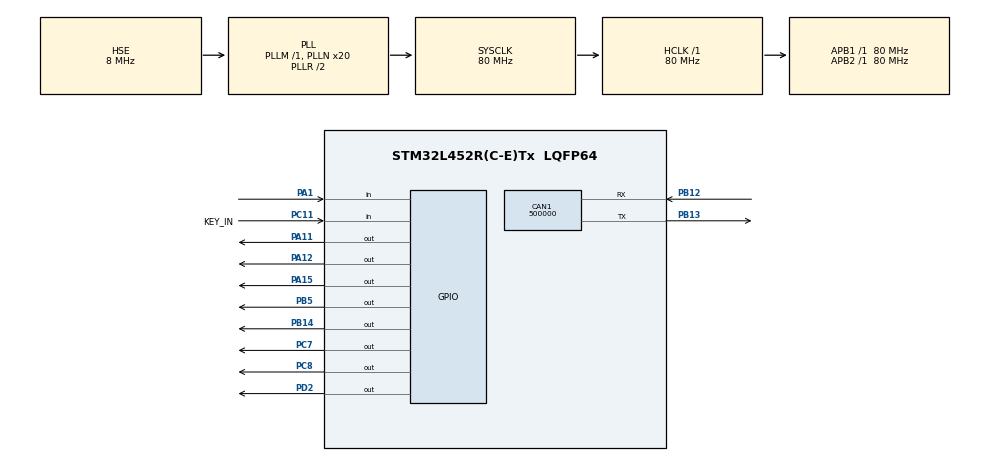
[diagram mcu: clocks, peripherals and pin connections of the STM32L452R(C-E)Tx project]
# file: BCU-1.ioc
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Mcu.Family=STM32L4
RCC.MSI_VALUE=4000000
RCC.PLLSourceVirtual=RCC_PLLSOURCE_HSE
NVIC.CAN1_RX1_IRQn=true\:0\:0\:false\:false\:true\:true\:true
RCC.CortexFreq_Value=80000000
PA13\ (JTMS/SWDIO).Mode=Serial_Wire
PH0-OSC_IN\ (PH0).Signal=RCC_OSC_IN
PC11.Signal=GPIO_Input
CAN1.CalculateBaudRate=500000
PC8.Signal=GPIO_Output
PA15\ (JTDI).Signal=GPIO_Output
PB13.Signal=CAN1_TX
PH1-OSC_OUT\ (PH1).Signal=RCC_OSC_OUT
RCC.SYSCLKSource=RCC_SYSCLKSOURCE_PLLCLK
ProjectManager.StackSize=0x400
PC11.GPIO_PuPd=GPIO_PULLUP
PA14\ (JTCK/SWCLK).Signal=SYS_JTCK-SWCLK
PA12.Signal=GPIO_Output
CAN1.BS2=CAN_BS2_6TQ
CAN1.BS1=CAN_BS1_3TQ
ProjectManager.TargetToolchain=STM32CubeIDE
NVIC.CAN1_TX_IRQn=true\:0\:0\:false\:false\:true\:true\:true
RCC.HCLKFreq_Value=80000000
RCC.APB2TimFreq_Value=80000000
PC7.Signal=GPIO_Output
RCC.USBFreq_Value=32000000
NVIC.CAN1_SCE_IRQn=true\:0\:0\:false\:false\:true\:true\:true
RCC.LSE_VALUE=32768
PA1.Signal=GPIO_Input
RCC.AHBFreq_Value=80000000
PB14.Signal=GPIO_Output
PH1-OSC_OUT\ (PH1).Mode=HSE-External-Oscillator
RCC.HSE_VALUE=8000000
board=custom
RCC.VCOOutputFreq_Value=160000000
RCC.APB2Freq_Value=80000000
VP_TIM2_VS_ClockSourceINT.Mode=Internal
PC11.GPIO_Label=KEY_IN
NVIC.TIM2_IRQn=true\:0\:0\:false\:false\:true\:true\:true
RCC.ADCFreq_Value=32000000
PA14\ (JTCK/SWCLK).Mode=Serial_Wire
TIM2.Period=40000-1
Mcu.Name=STM32L452R(C-E)Tx
RCC.SYSCLKFreq_VALUE=80000000
Mcu.Package=LQFP64
PB5.Signal=GPIO_Output
TIM2.Prescaler=10000-1
PB12.Mode=CAN_Activate
PA11.Signal=GPIO_Output
ProjectManager.HeapSize=0x200
RCC.HSI_VALUE=16000000
NVIC.PriorityGroup=NVIC_PRIORITYGROUP_4
RCC.PLLN=20
RCC.APB1TimFreq_Value=80000000
TIM2.AutoReloadPreload=TIM_AUTORELOAD_PRELOAD_ENABLE
PB13.Mode=CAN_Activate
PD2.Signal=GPIO_Output
RCC.APB1Freq_Value=80000000
CAN1.CalculateTimeBit=2000.00
PH0-OSC_IN\ (PH0).Mode=HSE-External-Oscillator
PB12.Signal=CAN1_RX
NVIC.CAN1_RX0_IRQn=true\:0\:0\:false\:false\:true\:true\:true
RCC.HSI48_VALUE=48000000
PA13\ (JTMS/SWDIO).Signal=SYS_JTMS-SWDIO
CAN1.CalculateTimeQuantum=200.0

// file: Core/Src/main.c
/* USER CODE BEGIN Header */
/**
 ******************************************************************************
 * @file           : main.c
 * @brief          : Main program body
 ******************************************************************************
 * @attention
 *
 * <h2><center>&copy; Copyright (c) 2021 STMicroelectronics.
 * All rights reserved.</center></h2>
 *
 * This software component is licensed by ST under BSD 3-Clause license,
 * the "License"; You may not use this file except in compliance with the
 * License. You may obtain a copy of the License at:
 *                        opensource.org/licenses/BSD-3-Clause
 *
 ******************************************************************************
 */
/* USER CODE END Header */
#include "main.h"

/* USER CODE BEGIN Includes */
#include "J1939.H"
#include "stdlib.h"
#include "J1939_Config.H"
#include <stdint.h>
#include <stdlib.h>
#include <switch.H>
/* USER CODE END Includes */

CAN_HandleTypeDef hcan1;

TIM_HandleTypeDef htim2;

/* USER CODE BEGIN PV */
uint8_t response_data[8];
char uart_buf[50];
int uart_buf_len;
uint16_t timer_val;
uint16_t ran;
j1939_uint8_t  *info;
j1939_uint8_t _info;
struct Key_Info Key_Infovar;
struct Motorcontroller_Status Motorcontroller_Statusvar;
struct Switch_Info Switch_Infovar;
struct Motorcontroller_command Motorcontroller_commandvar;
struct BMS_Status BMS_Statusvar;
struct VCU_Status VCU_Statusvar;

uint8_t flag1=1;
uint8_t flag2=1;
uint8_t cnt1=0;
uint8_t  count=0;
uint8_t count1=0;
J1939_MESSAGE Message;
uint8_t vehicle_state=0;
/* USER CODE END PV */

void SystemClock_Config(void);
static void MX_GPIO_Init(void);
static void MX_TIM2_Init(void);
static void MX_CAN1_Init(void);

/* USER CODE BEGIN 0 */
void sendMsg_KEYINFO(J1939_MESSAGE *Message)
{

	J1939_MESSAGE _msgKEYINFO;
	_msgKEYINFO=*Message;

	//uint8_t buf[]="2";
	_msgKEYINFO.Mxe.DataPage = 0;
	_msgKEYINFO.Mxe.Priority = 0x01;
	_msgKEYINFO.Mxe.DestinationAddress = 0x33;//changed from 33 to 31//destination is all
	_msgKEYINFO.Mxe.DataLength = 8;
	_msgKEYINFO.Mxe.PDUFormat = 0xf1;
	_msgKEYINFO.Mxe.SourceAddress = 0x33;

	//	_msgKEYINFO.Mxe.Data[0] = 0;
	//	_msgKEYINFO.Mxe.Data[1] = 0;
	//	_msgKEYINFO.Mxe.Data[2] = 0;
	//	_msgKEYINFO.Mxe.Data[3] = 0;
	//	_msgKEYINFO.Mxe.Data[4] = 0;
	//	_msgKEYINFO.Mxe.Data[5] = 0;
	//	_msgKEYINFO.Mxe.Data[6] = 0;
	//	_msgKEYINFO.Mxe.Data[7] = 'k';

	//J1939_TP_TX_Message(0xf133, 0xff, buf,1);
	while (J1939_Send_Message(&_msgKEYINFO)!= RC_SUCCESS);

	//HAL_UART_Transmit(&huart3,"send msg from keyinfo\r\n", 30, 1000);
}
void sendMsg_BMSSTATUS(J1939_MESSAGE *Message)
{
	J1939_MESSAGE _msgBMSSTATUS;

	_msgBMSSTATUS=*Message;
	_msgBMSSTATUS.Mxe.DataPage = 0;
	_msgBMSSTATUS.Mxe.Priority = 0x03;
	_msgBMSSTATUS.Mxe.DestinationAddress = 0x22;
	_msgBMSSTATUS.Mxe.DataLength = 8;
	_msgBMSSTATUS.Mxe.PDUFormat = 0xF4;
	_msgBMSSTATUS.Mxe.SourceAddress = 0x44;

	//	_msgBMSSTATUS.Mxe.Data[0] = 0;
	//	_msgBMSSTATUS.Mxe.Data[1] = 0;
	//	_msgBMSSTATUS.Mxe.Data[2] = 0;
	//	_msgBMSSTATUS.Mxe.Data[3] = 0;
	//	_msgBMSSTATUS.Mxe.Data[4] = 0;
	//	_msgBMSSTATUS.Mxe.Data[5] = 0;
	//	_msgBMSSTATUS.Mxe.Data[6] = 0;
	//	_msgBMSSTATUS.Mxe.Data[7] = 0;

	//J1939_TP_TX_Message(0xf133, 0xff, buf,1);
	while (J1939_Send_Message( &_msgBMSSTATUS) != RC_SUCCESS);
}

void sendMsg_MOTORCONTROLLERSTATUS(J1939_MESSAGE *Message)
{
	J1939_MESSAGE _msgMOTORCONTROLLERSTATUS;
	_msgMOTORCONTROLLERSTATUS =*Message;

	_msgMOTORCONTROLLERSTATUS.Mxe.DataPage = 0;
	_msgMOTORCONTROLLERSTATUS.Mxe.Priority = 0x03;
	_msgMOTORCONTROLLERSTATUS.Mxe.DestinationAddress = 0x33;
	_msgMOTORCONTROLLERSTATUS.Mxe.DataLength = 1;
	_msgMOTORCONTROLLERSTATUS.Mxe.PDUFormat = 0xF2;
	_msgMOTORCONTROLLERSTATUS.Mxe.SourceAddress = 0x11;

	//	_msgMOTORCONTROLLERSTATUS.Mxe.Data[0] = Motorcontroller_Statusvar.motorcontroller_state;
	//	_msgMOTORCONTROLLERSTATUS.Mxe.Data[1] = 0;
	//	_msgMOTORCONTROLLERSTATUS.Mxe.Data[2] = 0;
	//	_msgMOTORCONTROLLERSTATUS.Mxe.Data[3] = 0;
	//	_msgMOTORCONTROLLERSTATUS.Mxe.Data[4] = 0;
	//	_msgMOTORCONTROLLERSTATUS.Mxe.Data[5] = 0;
	//	_msgMOTORCONTROLLERSTATUS.Mxe.Data[6] = 0;
	//	_msgMOTORCONTROLLERSTATUS.Mxe.Data[7] = 0;

	//J1939_TP_TX_Message(0xf133, 0xff, buf,1);
	while (J1939_Send_Message( &_msgMOTORCONTROLLERSTATUS) != RC_SUCCESS);

}

void sendMsg_VCUSTATUS(J1939_MESSAGE *Message)
{
	J1939_MESSAGE _msgVCUSTATUS;
	_msgVCUSTATUS =*Message;
	_msgVCUSTATUS.Mxe.DataPage = 0;
	_msgVCUSTATUS.Mxe.Priority = 0x03;
	_msgVCUSTATUS.Mxe.DestinationAddress = 0x22;
	_msgVCUSTATUS.Mxe.DataLength = 8;
	_msgVCUSTATUS.Mxe.PDUFormat = 0x01;
	_msgVCUSTATUS.Mxe.SourceAddress = 0x22;

	//	_msgVCUSTATUS.Mxe.Data[0] = 0;
	//	_msgVCUSTATUS.Mxe.Data[1] = 0;
	//	_msgVCUSTATUS.Mxe.Data[2] = 0;
	//	_msgVCUSTATUS.Mxe.Data[3] = 0;
	//	_msgVCUSTATUS.Mxe.Data[4] = 0;
	//	_msgVCUSTATUS.Mxe.Data[5] = 0;
	//	_msgVCUSTATUS.Mxe.Data[6] = 0;
	//	_msgVCUSTATUS.Mxe.Data[7] = 0;

	//J1939_TP_TX_Message(0xf133, 0xff, buf,1);
	while (J1939_Send_Message(&_msgVCUSTATUS) != RC_SUCCESS);

}

/* USER CODE END 0 */

int main(void)
{

  /* MCU Configuration--------------------------------------------------------*/

  /* Reset of all peripherals, Initializes the Flash interface and the Systick. */
  HAL_Init();

  /* USER CODE BEGIN Init */
	Key_Infovar.Key_In=0;
	Key_Infovar.Key_Off=0;
	//	Microcontroller_Statusvar.motorcontroller_state=0;
	Motorcontroller_commandvar.brake=0;
	Motorcontroller_commandvar.ignition_command=0;

	Switch_Infovar.killswitch=0;
	Switch_Infovar.brake=0;
	Switch_Infovar.indicator=0;
	Switch_Infovar.highbeam=0;
	Switch_Infovar.navigation=0;
	BMS_Statusvar.BMS_Status=0;
  /* USER CODE END Init */

  /* Configure the system clock */
  SystemClock_Config();

  /* Initialize all configured peripherals */
  MX_GPIO_Init();
  MX_TIM2_Init();
  MX_CAN1_Init();
  /* USER CODE BEGIN 2 */
	//  HAL_GPIO_WritePin(GPIOB,GPIO_PIN_14,0);//stb used only microchip
	//HAL_GPIO_WritePin(GPIOC,GPIO_PIN_8,1);//voltage and same pin for navigatin_5
	//HAL_GPIO_WritePin(GPIOA,GPIO_PIN_11,1);//HIGH BEAM
	//  	  HAL_GPIO_WritePin(GPIOB,GPIO_PIN_5,1);//COMBO LIGHT
	//  HAL_GPIO_WritePin(GPIOA,GPIO_PIN_15,1);//RIGHT INDICATOR
	//  HAL_GPIO_WritePin(GPIOC,GPIO_PIN_7,0);//BRAKE LIGHT
	//  HAL_GPIO_WritePin(GPIOD,GPIO_PIN_2,1);//LEFT INDICATOR
	//HAL_GPIO_WritePin(GPIOA,GPIO_PIN_12,1);//STOP LIGHT
	// HAL_GPIO_WritePin(GPIOB,GPIO_PIN_14,0);//stb used only microchip
	//HAL_GPIO_WritePin(GPIOC,GPIO_PIN_8,1);//voltage
	//HAL_CAN_ActivateNotification(&hcan1,CAN_IT_RX_FIFO0_MSG_PENDING|CAN_IT_ERROR);// interrupts activation
	J1939_SetAddressFilter();
	if(HAL_CAN_Start(&hcan1)!=HAL_OK)
	{
		//		HAL_UART_Transmit(&huart3,"error in can_start\n\r", 20, 1000);
		Error_Handler();

	}
	J1939_Initialization();

	int a=0;
  /* USER CODE END 2 */

  /* Infinite loop */
  /* USER CODE BEGIN WHILE */
	while (1)
	{
		switches_call();
		HAL_Delay(15);
		J1939_Poll( );

		while(vehicle_state)
		{
			switches_call();
			if(count1%2==0)
			{
				vehicle_state=0;
				HAL_TIM_Base_Stop_IT(&htim2);
			}
		}

    /* USER CODE END WHILE */

	}
}

void SystemClock_Config(void)
{
  RCC_OscInitTypeDef RCC_OscInitStruct = {0};
  RCC_ClkInitTypeDef RCC_ClkInitStruct = {0};

  /** Initializes the RCC Oscillators according to the specified parameters
  * in the RCC_OscInitTypeDef structure.
  */
  RCC_OscInitStruct.OscillatorType = RCC_OSCILLATORTYPE_HSE;
  RCC_OscInitStruct.HSEState = RCC_HSE_ON;
  RCC_OscInitStruct.PLL.PLLState = RCC_PLL_ON;
  RCC_OscInitStruct.PLL.PLLSource = RCC_PLLSOURCE_HSE;
  RCC_OscInitStruct.PLL.PLLM = 1;
  RCC_OscInitStruct.PLL.PLLN = 20;
  RCC_OscInitStruct.PLL.PLLP = RCC_PLLP_DIV7;
  RCC_OscInitStruct.PLL.PLLQ = RCC_PLLQ_DIV2;
  RCC_OscInitStruct.PLL.PLLR = RCC_PLLR_DIV2;
  if (HAL_RCC_OscConfig(&RCC_OscInitStruct) != HAL_OK)
  {
    Error_Handler();
  }
  /** Initializes the CPU, AHB and APB buses clocks
  */
  RCC_ClkInitStruct.ClockType = RCC_CLOCKTYPE_HCLK|RCC_CLOCKTYPE_SYSCLK
                              |RCC_CLOCKTYPE_PCLK1|RCC_CLOCKTYPE_PCLK2;
  RCC_ClkInitStruct.SYSCLKSource = RCC_SYSCLKSOURCE_PLLCLK;
  RCC_ClkInitStruct.AHBCLKDivider = RCC_SYSCLK_DIV1;
  RCC_ClkInitStruct.APB1CLKDivider = RCC_HCLK_DIV1;
  RCC_ClkInitStruct.APB2CLKDivider = RCC_HCLK_DIV1;

  if (HAL_RCC_ClockConfig(&RCC_ClkInitStruct, FLASH_LATENCY_4) != HAL_OK)
  {
    Error_Handler();
  }
  /** Configure the main internal regulator output voltage
  */
  if (HAL_PWREx_ControlVoltageScaling(PWR_REGULATOR_VOLTAGE_SCALE1) != HAL_OK)
  {
    Error_Handler();
  }
}

static void MX_CAN1_Init(void)
{

  hcan1.Instance = CAN1;
  hcan1.Init.Prescaler = 16;
  hcan1.Init.Mode = CAN_MODE_NORMAL;
  hcan1.Init.SyncJumpWidth = CAN_SJW_1TQ;
  hcan1.Init.TimeSeg1 = CAN_BS1_3TQ;
  hcan1.Init.TimeSeg2 = CAN_BS2_6TQ;
  hcan1.Init.TimeTriggeredMode = DISABLE;
  hcan1.Init.AutoBusOff = DISABLE;
  hcan1.Init.AutoWakeUp = DISABLE;
  hcan1.Init.AutoRetransmission = DISABLE;
  hcan1.Init.ReceiveFifoLocked = DISABLE;
  hcan1.Init.TransmitFifoPriority = DISABLE;
  if (HAL_CAN_Init(&hcan1) != HAL_OK)
  {
    Error_Handler();
  }

}

static void MX_TIM2_Init(void)
{

  TIM_ClockConfigTypeDef sClockSourceConfig = {0};
  TIM_MasterConfigTypeDef sMasterConfig = {0};

  htim2.Instance = TIM2;
  htim2.Init.Prescaler = 10000-1;
  htim2.Init.CounterMode = TIM_COUNTERMODE_UP;
  htim2.Init.Period = 40000-1;
  htim2.Init.ClockDivision = TIM_CLOCKDIVISION_DIV1;
  htim2.Init.AutoReloadPreload = TIM_AUTORELOAD_PRELOAD_ENABLE;
  if (HAL_TIM_Base_Init(&htim2) != HAL_OK)
  {
    Error_Handler();
  }
  sClockSourceConfig.ClockSource = TIM_CLOCKSOURCE_INTERNAL;
  if (HAL_TIM_ConfigClockSource(&htim2, &sClockSourceConfig) != HAL_OK)
  {
    Error_Handler();
  }
  sMasterConfig.MasterOutputTrigger = TIM_TRGO_RESET;
  sMasterConfig.MasterSlaveMode = TIM_MASTERSLAVEMODE_DISABLE;
  if (HAL_TIMEx_MasterConfigSynchronization(&htim2, &sMasterConfig) != HAL_OK)
  {
    Error_Handler();
  }

}

static void MX_GPIO_Init(void)
{
  GPIO_InitTypeDef GPIO_InitStruct = {0};

  /* GPIO Ports Clock Enable */
  __HAL_RCC_GPIOH_CLK_ENABLE();
  __HAL_RCC_GPIOA_CLK_ENABLE();
  __HAL_RCC_GPIOB_CLK_ENABLE();
  __HAL_RCC_GPIOC_CLK_ENABLE();
  __HAL_RCC_GPIOD_CLK_ENABLE();

  /*Configure GPIO pin Output Level */
  HAL_GPIO_WritePin(GPIOB, GPIO_PIN_14|GPIO_PIN_5, GPIO_PIN_RESET);

  /*Configure GPIO pin Output Level */
  HAL_GPIO_WritePin(GPIOC, GPIO_PIN_7|GPIO_PIN_8, GPIO_PIN_RESET);

  /*Configure GPIO pin Output Level */
  HAL_GPIO_WritePin(GPIOA, GPIO_PIN_11|GPIO_PIN_12|GPIO_PIN_15, GPIO_PIN_RESET);

  /*Configure GPIO pin Output Level */
  HAL_GPIO_WritePin(GPIOD, GPIO_PIN_2, GPIO_PIN_RESET);

  /*Configure GPIO pin : PA1 */
  GPIO_InitStruct.Pin = GPIO_PIN_1;
  GPIO_InitStruct.Mode = GPIO_MODE_INPUT;
  GPIO_InitStruct.Pull = GPIO_NOPULL;
  HAL_GPIO_Init(GPIOA, &GPIO_InitStruct);

  /*Configure GPIO pins : PB14 PB5 */
  GPIO_InitStruct.Pin = GPIO_PIN_14|GPIO_PIN_5;
  GPIO_InitStruct.Mode = GPIO_MODE_OUTPUT_PP;
  GPIO_InitStruct.Pull = GPIO_NOPULL;
  GPIO_InitStruct.Speed = GPIO_SPEED_FREQ_LOW;
  HAL_GPIO_Init(GPIOB, &GPIO_InitStruct);

  /*Configure GPIO pins : PC7 PC8 */
  GPIO_InitStruct.Pin = GPIO_PIN_7|GPIO_PIN_8;
  GPIO_InitStruct.Mode = GPIO_MODE_OUTPUT_PP;
  GPIO_InitStruct.Pull = GPIO_NOPULL;
  GPIO_InitStruct.Speed = GPIO_SPEED_FREQ_LOW;
  HAL_GPIO_Init(GPIOC, &GPIO_InitStruct);

  /*Configure GPIO pins : PA11 PA12 PA15 */
  GPIO_InitStruct.Pin = GPIO_PIN_11|GPIO_PIN_12|GPIO_PIN_15;
  GPIO_InitStruct.Mode = GPIO_MODE_OUTPUT_PP;
  GPIO_InitStruct.Pull = GPIO_NOPULL;
  GPIO_InitStruct.Speed = GPIO_SPEED_FREQ_LOW;
  HAL_GPIO_Init(GPIOA, &GPIO_InitStruct);

  /*Configure GPIO pin : KEY_IN_Pin */
  GPIO_InitStruct.Pin = KEY_IN_Pin;
  GPIO_InitStruct.Mode = GPIO_MODE_INPUT;
  GPIO_InitStruct.Pull = GPIO_PULLUP;
  HAL_GPIO_Init(KEY_IN_GPIO_Port, &GPIO_InitStruct);

  /*Configure GPIO pin : PD2 */
  GPIO_InitStruct.Pin = GPIO_PIN_2;
  GPIO_InitStruct.Mode = GPIO_MODE_OUTPUT_PP;
  GPIO_InitStruct.Pull = GPIO_NOPULL;
  GPIO_InitStruct.Speed = GPIO_SPEED_FREQ_LOW;
  HAL_GPIO_Init(GPIOD, &GPIO_InitStruct);

}

/* USER CODE BEGIN 4 */
void HAL_TIM_PeriodElapsedCallback(TIM_HandleTypeDef *htim)
{
	if(vehicle_state==1)
	{
		//	if(!vehicle_state)
		//		vehicle_state=1;
		//	else
		//		vehicle_state=0;

		if(count==count1)
		{
			Message.Mxe.Data[0]=_info1;

		}
		else
		{
			Message.Mxe.Data[0]=0x02;

		}
		sendMsg_KEYINFO(&Message);
		memset(Message.Mxe.Data, 0, 1*sizeof(Message.Mxe.Data[0]));

		//__NVIC_ClearPendingIRQ(EXTI15_10_IRQn);
		//NVIC_ClearPendingIRQ (EXTI15_10_IRQn);
		//__HAL_TIM_DISABLE(&htim2);
		HAL_TIM_Base_Stop_IT(&htim2);
	}

}
/* USER CODE END 4 */

void Error_Handler(void)
{
	__disable_irq();
	while (1)
	{
	}
}

/************************ (C) COPYRIGHT STMicroelectronics *****END OF FILE****/
